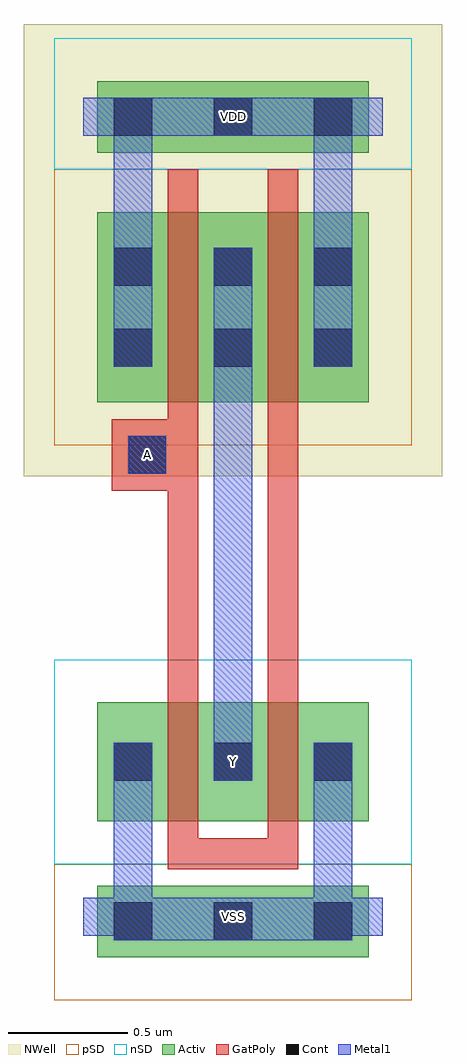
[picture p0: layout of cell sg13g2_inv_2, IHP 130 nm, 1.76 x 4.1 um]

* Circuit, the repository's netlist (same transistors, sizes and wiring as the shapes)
* sg13g2_inv_2 -- generated by design/gen_netlists.py from example_config.json; do not edit.
* family inv, drive 2, L=130n, supply 1.20 V.
* Y = !A
.subckt sg13g2_inv_2 A Y VDD VSS
XMN0 Y A VSS VSS sg13_lv_nmos w=1000n l=130n ng=1 m=1
XMP0 Y A VDD VDD sg13_lv_pmos w=1600n l=130n ng=2 m=1
.ends sg13g2_inv_2

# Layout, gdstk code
import gdstk
lib = gdstk.Library(unit=1e-6, precision=1e-09)
def R(c, l, rs):  # rectangles x0, y0, x1, y1
    for r in rs: c.add(gdstk.rectangle(r[:2], r[2:], *l))
def A(c, l, x, y, w, h, nx, ny, dx, dy):  # array of equal rectangles
    R(c, l, [(x+i*dx, y+j*dy, x+i*dx+w, y+j*dy+h) for i in range(nx) for j in range(ny)])
Activ = (1, 0)
GatPoly = (5, 0)
Cont = (6, 0)
nSD = (7, 0)
Metal1 = (8, 0)
pSD = (14, 0)
NWell = (31, 0)

sg13g2_inv_2 = lib.new_cell('sg13g2_inv_2')
R(sg13g2_inv_2, Activ, [(0.06,-0.17,1.2,0.13), (0.06,0.4,1.2,0.9), (0.06,2.16,1.2,2.96), (0.06,3.21,1.2,3.51)])
R(sg13g2_inv_2, GatPoly, [(0.355,0.2,0.485,3.14), (0.355,0.2,0.905,0.33), (0.775,0.2,0.905,3.14), (0.12,1.79,0.485,2.09)])
A(sg13g2_inv_2, Cont, 0.13, -0.1, 0.16, 0.16, 3, 2, 0.42, 0.67)
A(sg13g2_inv_2, Cont, 0.13, 2.31, 0.16, 0.16, 3, 2, 0.42, 0.34)
A(sg13g2_inv_2, Cont, 0.13, 3.28, 0.16, 0.16, 3, 1, 0.42, 0)
R(sg13g2_inv_2, Cont, [(0.19,1.86,0.35,2.02)])
R(sg13g2_inv_2, nSD, [(-0.12,0.22,1.38,1.08), (-0.12,3.14,1.38,3.69)])
R(sg13g2_inv_2, Metal1, [(0.13,-0.1,1.13,0.08), (0,-0.08,1.26,0.08), (0.13,-0.08,0.29,0.73), (0.97,-0.08,1.13,0.73), (0.55,0.57,0.71,1.17), (0.55,1.01,0.71,1.17), (0.55,1.01,0.71,2.81), (0.19,1.86,0.35,2.02), (0.13,2.31,0.29,3.44), (0.97,2.31,1.13,3.44), (0,3.28,1.26,3.44), (0.13,3.28,1.13,3.44)])
R(sg13g2_inv_2, pSD, [(-0.12,-0.35,1.38,0.22), (-0.12,1.98,1.38,3.14)])
R(sg13g2_inv_2, NWell, [(-0.25,1.85,1.51,3.75)])
sg13g2_inv_2.add(gdstk.Label('A', (0.27,1.94), layer=8, texttype=25))
sg13g2_inv_2.add(gdstk.Label('VSS', (0.63,0), layer=8, texttype=25))
sg13g2_inv_2.add(gdstk.Label('Y', (0.63,0.65), layer=8, texttype=25))
sg13g2_inv_2.add(gdstk.Label('VDD', (0.63,3.36), layer=8, texttype=25))

lib.write_gds('sg13g2_inv_2.gds')
